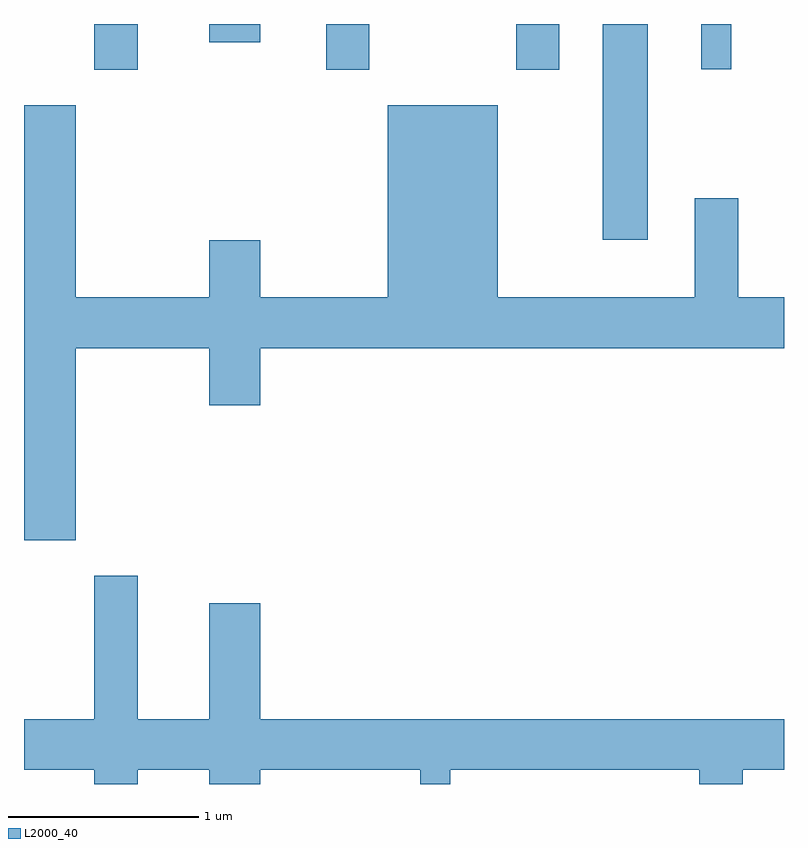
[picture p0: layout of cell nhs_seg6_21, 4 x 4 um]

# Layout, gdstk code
import gdstk
lib = gdstk.Library(unit=1e-6, precision=1e-09)
def R(c, l, rs):  # rectangles x0, y0, x1, y1
    for r in rs: c.add(gdstk.rectangle(r[:2], r[2:], *l))
def P(c, l, *ps):  # polygons
    for p in ps: c.add(gdstk.Polygon(p, *l))
L2000_40 = (2000, 40)

nhs_seg6_21 = lib.new_cell('nhs_seg6_21')
R(nhs_seg6_21, L2000_40, [(188.656,1575.026,188.894,1576.162), (185.981,1575.921,186.209,1576.162), (187.201,1575.921,187.429,1576.162), (188.201,1575.921,188.429,1576.162), (189.176,1575.923,189.334,1576.162), (186.586,1576.066,186.854,1576.162)])
P(nhs_seg6_21, L2000_40, [(185.884,1574.456),(186.586,1574.456),(186.586,1574.156),(186.854,1574.156),(186.854,1574.456),(189.611,1574.456),(189.611,1574.724),(189.369,1574.724),(189.369,1575.244),(189.141,1575.244),(189.141,1574.724),(188.104,1574.724),(188.104,1575.734),(187.526,1575.734),(187.526,1574.724),(186.854,1574.724),(186.854,1575.024),(186.586,1575.024),(186.586,1574.724),(185.884,1574.724),(185.884,1575.734),(185.611,1575.734),(185.611,1573.446),(185.884,1573.446)],
  [(186.209,1572.236),(186.586,1572.236),(186.586,1572.162),(186.854,1572.162),(186.854,1572.236),(187.696,1572.236),(187.696,1572.162),(187.854,1572.162),(187.854,1572.236),(189.166,1572.236),(189.166,1572.162),(189.394,1572.162),(189.394,1572.236),(189.611,1572.236),(189.611,1572.504),(186.854,1572.504),(186.854,1573.114),(186.586,1573.114),(186.586,1572.504),(186.209,1572.504),(186.209,1573.259),(185.981,1573.259),(185.981,1572.504),(185.611,1572.504),(185.611,1572.236),(185.981,1572.236),(185.981,1572.162),(186.209,1572.162)])

lib.write_gds('nhs_seg6_21.gds')
